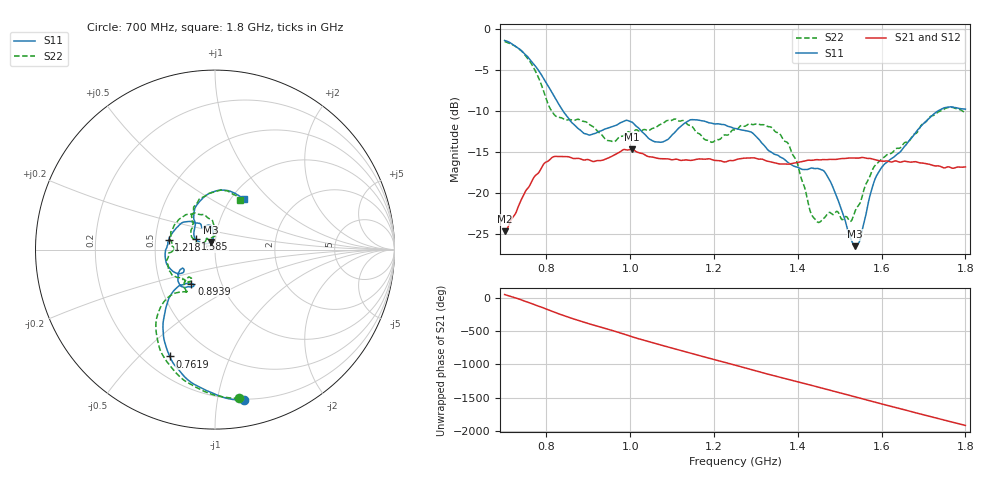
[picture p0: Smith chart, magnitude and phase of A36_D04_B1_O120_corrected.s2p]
! Created with skrf 1.9.0 (http://scikit-rf.org).
# Hz S RI R 50.0
!freq ReS11 ImS11 ReS21 ImS21 ReS12 ImS12 ReS22 ImS22
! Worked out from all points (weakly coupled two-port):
!   1601 points, 700 MHz to 1.8 GHz, reference 50 ohm
!   highest |S21| = -14.63 dB at 1.003 GHz (marker M1); lowest = -24.6 dB at 700 MHz (marker M2)
!   lowest |S11| = -26.4 dB at 1.537 GHz (marker M3), VSWR 1.10, Z = 47.7 + j4.03 ohm
!   |S11| at or under -10 dB: 839.8 MHz to 1.733 GHz (893.1 MHz wide, 69.4 % of centre)
!   |S22| runs from -23.5 to -1.5 dB; largest |S21 - S12| = 0.0034
!   S11 on the Smith chart (normalised r, x): 700 MHz: 0.19, -1.20; 761.9 MHz: 0.30, -0.62; 893.9 MHz: 0.72, -0.29; 1.218 GHz: 0.59, +0.07; 1.585 GHz: 0.80, +0.09; 1.8 GHz: 1.14, +0.72
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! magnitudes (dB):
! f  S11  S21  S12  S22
! 700 MHz  -1.4  -24.6  -24.4  -1.5
! 761.9 MHz  -3.8  -18.9  -18.8  -4.0
! 818.2 MHz  -8.1  -15.5  -15.6  -10.4
! 883.6 MHz  -12.4  -15.9  -15.8  -11.2
! 893.9 MHz  -12.7  -15.9  -16.0  -11.3
! 949.6 MHz  -12.0  -15.6  -15.6  -13.6
! 1.003 GHz  -11.3  -14.6  -14.8  -12.6
! 1.067 GHz  -13.7  -15.7  -15.7  -11.7
! 1.143 GHz  -11.0  -16.0  -16.0  -11.7
! 1.191 GHz  -11.4  -15.8  -15.8  -13.7
! 1.218 GHz  -11.6  -16.1  -16.1  -13.2
! 1.25 GHz  -12.1  -15.9  -15.9  -12.3
! 1.357 GHz  -15.5  -16.4  -16.4  -12.8
! 1.396 GHz  -16.8  -16.3  -16.2  -16.0
! 1.434 GHz  -16.9  -16.0  -15.9  -22.7
! 1.473 GHz  -18.2  -15.9  -15.9  -22.3
! 1.537 GHz  -26.4  -15.7  -15.7  -22.2
! 1.549 GHz  -25.6  -15.7  -15.7  -21.1
! 1.585 GHz  -18.2  -15.9  -15.9  -16.6
! 1.617 GHz  -16.0  -16.1  -16.1  -15.2
! 1.732 GHz  -10.0  -16.7  -16.7  -10.2
! 1.8 GHz  -9.7  -16.8  -16.8  -10.1
